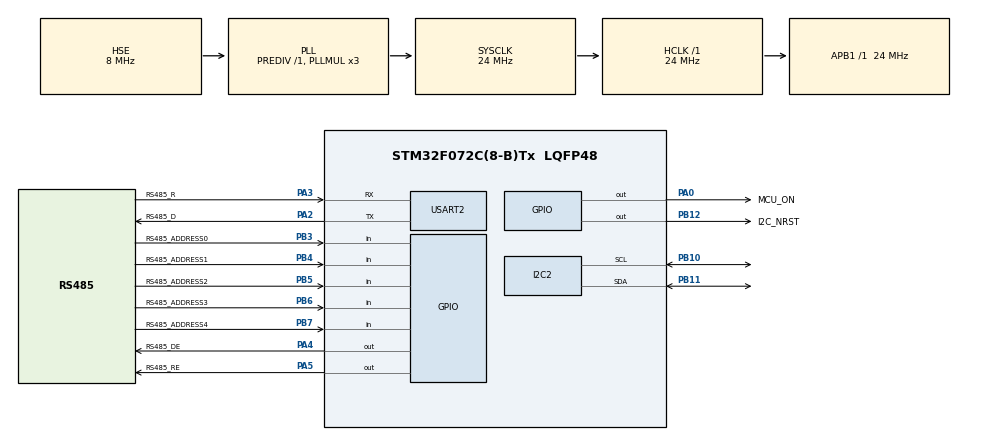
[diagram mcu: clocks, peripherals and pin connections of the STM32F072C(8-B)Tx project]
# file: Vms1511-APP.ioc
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I2C2.Timing=0x00506682
Mcu.Family=STM32F0
Mcu.Name=STM32F072C(8-B)Tx
Mcu.Package=LQFP48
PA0.GPIO_Label=MCU_ON
PA0.Signal=GPIO_Output
PA2.GPIO_Label=RS485_D
PA2.Mode=Asynchronous
PA2.Signal=USART2_TX
PA3.GPIO_Label=RS485_R
PA3.Mode=Asynchronous
PA3.Signal=USART2_RX
PA4.GPIO_Label=RS485_DE
PA4.PinState=GPIO_PIN_RESET
PA4.Signal=GPIO_Output
PA5.GPIO_Label=RS485_RE
PA5.PinState=GPIO_PIN_SET
PA5.Signal=GPIO_Output
PB10.Mode=I2C
PB10.Signal=I2C2_SCL
PB11.Mode=I2C
PB11.Signal=I2C2_SDA
PB12.GPIO_Label=I2C_NRST
PB12.Signal=GPIO_Output
PB3.GPIO_Label=RS485_ADDRESS0
PB3.Signal=GPIO_Input
PB4.GPIO_Label=RS485_ADDRESS1
PB4.Signal=GPIO_Input
PB5.GPIO_Label=RS485_ADDRESS2
PB5.Signal=GPIO_Input
PB6.GPIO_Label=RS485_ADDRESS3
PB6.Signal=GPIO_Input
PB7.GPIO_Label=RS485_ADDRESS4
PB7.Signal=GPIO_Input
PF0-OSC_IN.Mode=HSE-External-Oscillator
PF0-OSC_IN.Signal=RCC_OSC_IN
PF1-OSC_OUT.Mode=HSE-External-Oscillator
PF1-OSC_OUT.Signal=RCC_OSC_OUT
ProjectManager.HeapSize=0x200
ProjectManager.StackSize=0x400
ProjectManager.TargetToolchain=STM32CubeIDE
RCC.AHBFreq_Value=24000000
RCC.APB1Freq_Value=24000000
RCC.APB1TimFreq_Value=24000000
RCC.HCLKFreq_Value=24000000
RCC.PLLMUL=RCC_PLL_MUL3
RCC.PLLSourceVirtual=RCC_PLLSOURCE_HSE
RCC.SYSCLKFreq_VALUE=24000000
RCC.SYSCLKSource=RCC_SYSCLKSOURCE_PLLCLK
USART2.VirtualMode-Asynchronous=VM_ASYNC
VP_CRC_VS_CRC.Mode=CRC_Activate
VP_IWDG_VS_IWDG.Mode=IWDG_Activate
VP_TIM3_VS_ClockSourceINT.Mode=Internal
board=custom

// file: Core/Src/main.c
/* USER CODE BEGIN Header */
/**
 ******************************************************************************
 * @file           : main.c
 * @brief          : Main program body
 ******************************************************************************
 * @attention
 *
 * Copyright (c) 2023 STMicroelectronics.
 * All rights reserved.
 *
 * This software is licensed under terms that can be found in the LICENSE file
 * in the root directory of this software component.
 * If no LICENSE file comes with this software, it is provided AS-IS.
 *
 ******************************************************************************
 */
/* USER CODE END Header */
#include "main.h"
#include "crc.h"
#include "i2c.h"
#include "iwdg.h"
#include "tim.h"
#include "usart.h"
#include "gpio.h"

/* USER CODE BEGIN Includes */
#include "common.h"

#include "modbus_slave.h"
#include "configuration.h"
#include "mb_upgrade.h"
#include "system_msp.h"
#include "switch.h"
//#include "adc.h"
#include "control.h"
#include "flash_app.h"
#include "led.h"
#include "parset.h"

/* USER CODE END Includes */

void SystemClock_Config(void);

int main(void)
{

  /* USER CODE BEGIN 1 */
	uint32_t tick = 0;

	/* Remap reset vector and enable interrupts */
	System_RemapApplicationVector();
	__enable_irq();
  /* USER CODE END 1 */

  /* MCU Configuration--------------------------------------------------------*/

  /* Reset of all peripherals, Initializes the Flash interface and the Systick. */
  HAL_Init();

  /* USER CODE BEGIN Init */

	amp_gain_t current_gain = GAIN_1;
	amp_load_t current_load = LOAD_100R;

  /* USER CODE END Init */

  /* Configure the system clock */
  SystemClock_Config();

  /* Initialize all configured peripherals */
  MX_GPIO_Init();
  MX_CRC_Init();
  MX_IWDG_Init();
  MX_USART2_UART_Init();
  MX_TIM3_Init();
  MX_I2C2_Init();
  /* USER CODE BEGIN 2 */

	/* Initialize all configured peripherals */
	System_InitWdg();
	System_CrcInit();
	Config_Init();
	FlashApp_Init();
	MbSlave_Init();
	Led_Init();
	Switch_Init();
	Control_Init();
	HAL_GPIO_WritePin(MCU_ON_GPIO_Port, MCU_ON_Pin, 1);
	HAL_GPIO_WritePin(I2C_NRST_GPIO_Port, I2C_NRST_Pin, 1);

	int i = 0;	// For MCU_LED blink
	setExpRegAddr();
  /* USER CODE END 2 */

  /* Infinite loop */
  /* USER CODE BEGIN WHILE */
	while (1)
	{
		/* High priority handles */
		MbSlave_Handle();

		// Simple LED blinking for MCU´s working visible ctrl
		if (i > 100000)
		{
			i = 0;
			HAL_GPIO_TogglePin(MCU_ON_GPIO_Port, MCU_ON_Pin);
		}
		else
			i++;

		checkNewPar(&current_gain, &current_load, &conf);

		/* Low priority - slow handles */
		if (TICK_EXPIRED(tick))
		{
			tick = HAL_GetTick() + PERIOD_HANDLE_LOW_PRIO;
			conf.sys.io_input = Switch_GetAll();
			Control_Handle();
			MbSlave_UpdateSlaveAddress();

			if (Switch_GetPressed() > (5000 - 750) / PERIOD_HANDLE_LOW_PRIO)
			{
				FlashApp_RequestFactorySettings();
			}
			if (Switch_GetReleased()
					> 0&& Switch_GetReleased() <= (2500 - 750) / PERIOD_HANDLE_LOW_PRIO)
			{
				System_Reset();
			}
			FlashApp_Handle();
			System_ReloadWdg();
		}

    /* USER CODE END WHILE */

	}
}

void SystemClock_Config(void)
{
  RCC_OscInitTypeDef RCC_OscInitStruct = {0};
  RCC_ClkInitTypeDef RCC_ClkInitStruct = {0};
  RCC_PeriphCLKInitTypeDef PeriphClkInit = {0};

  /** Initializes the RCC Oscillators according to the specified parameters
  * in the RCC_OscInitTypeDef structure.
  */
  RCC_OscInitStruct.OscillatorType = RCC_OSCILLATORTYPE_LSI|RCC_OSCILLATORTYPE_HSE;
  RCC_OscInitStruct.HSEState = RCC_HSE_ON;
  RCC_OscInitStruct.LSIState = RCC_LSI_ON;
  RCC_OscInitStruct.PLL.PLLState = RCC_PLL_ON;
  RCC_OscInitStruct.PLL.PLLSource = RCC_PLLSOURCE_HSE;
  RCC_OscInitStruct.PLL.PLLMUL = RCC_PLL_MUL3;
  RCC_OscInitStruct.PLL.PREDIV = RCC_PREDIV_DIV1;
  if (HAL_RCC_OscConfig(&RCC_OscInitStruct) != HAL_OK)
  {
    Error_Handler();
  }

  /** Initializes the CPU, AHB and APB buses clocks
  */
  RCC_ClkInitStruct.ClockType = RCC_CLOCKTYPE_HCLK|RCC_CLOCKTYPE_SYSCLK
                              |RCC_CLOCKTYPE_PCLK1;
  RCC_ClkInitStruct.SYSCLKSource = RCC_SYSCLKSOURCE_PLLCLK;
  RCC_ClkInitStruct.AHBCLKDivider = RCC_SYSCLK_DIV1;
  RCC_ClkInitStruct.APB1CLKDivider = RCC_HCLK_DIV1;

  if (HAL_RCC_ClockConfig(&RCC_ClkInitStruct, FLASH_LATENCY_0) != HAL_OK)
  {
    Error_Handler();
  }
  PeriphClkInit.PeriphClockSelection = RCC_PERIPHCLK_USART2;
  PeriphClkInit.Usart2ClockSelection = RCC_USART2CLKSOURCE_PCLK1;
  if (HAL_RCCEx_PeriphCLKConfig(&PeriphClkInit) != HAL_OK)
  {
    Error_Handler();
  }
}

/* USER CODE BEGIN 4 */

void HAL_UART_RxCpltCallback(UART_HandleTypeDef *huart)
{
	/* UART receive complete Callbacks */
	MbSlave_RxCpltCallback(huart);
}

void HAL_UART_TxCpltCallback(UART_HandleTypeDef *huart)
{
	/* UART transmit complete Callbacks */
	MbSlave_TxCpltCallback(huart);
}

void HAL_UART_ErrorCallback(UART_HandleTypeDef *huart)
{
	/* UART error Callbacks */
	MbSlave_ErrorCallback(huart);
}

#define FW_UPGR_MASK            0xFFFF
#define FW_UPGR_VALUE_FIRM      CONF_TARGET_DEVICE

Status_t MbUpgr_HeaderClb(uint16_t type, uint16_t mode, uint32_t size)
{
	Status_t ret = STATUS_OK;

	if ((type & FW_UPGR_MASK) == FW_UPGR_VALUE_FIRM)
	{
		switch (mode)
		{
		case MB_UPGR_MODE_ERASE_AT_START:
			ret = System_FlashErase((uint32_t) CONF_C_APP_BUFFER_OFFSET,
					(uint32_t) CONF_C_APP_BUFFER_OFFSET + size);
			break;
		case MB_UPGR_MODE_APPLY:
			System_Delay(1000);
			System_Reset();
			break;
		default:
			break;
		}
	}
	else
	{
		ret = STATUS_ERROR;
	}

	return ret;
}

Status_t MbUpgr_WritePageClb(uint32_t offset, uint8_t *data, uint16_t length)
{
	Status_t ret = STATUS_OK;

	/* Write new data into flash */
	ret = System_FlashProgram((uint32_t) CONF_C_APP_BUFFER_OFFSET + offset,
			data, length);

	return ret;
}

Status_t MbUpgr_WriteDoneClb(uint32_t length)
{
	Status_t ret = STATUS_OK;

	if ((MbUpgr_GetType() & FW_UPGR_MASK) == FW_UPGR_VALUE_FIRM)
	{
		/* The very last packet, verify image */
		ret = System_VerifyImage((uint32_t*) CONF_C_APP_BUFFER_OFFSET);

		/* In case of error, erase application buffer */
		if (ret)
		{
			System_FlashErase((uint32_t) CONF_C_APP_BUFFER_OFFSET,
					(uint32_t) CONF_C_APP_BUFFER_OFFSET + length);
		}
	}
	else
	{
		ret = STATUS_ERROR;
	}

	return ret;
}

/* USER CODE END 4 */

void Error_Handler(void)
{
	__disable_irq();
	while (1)
	{
	}
}
